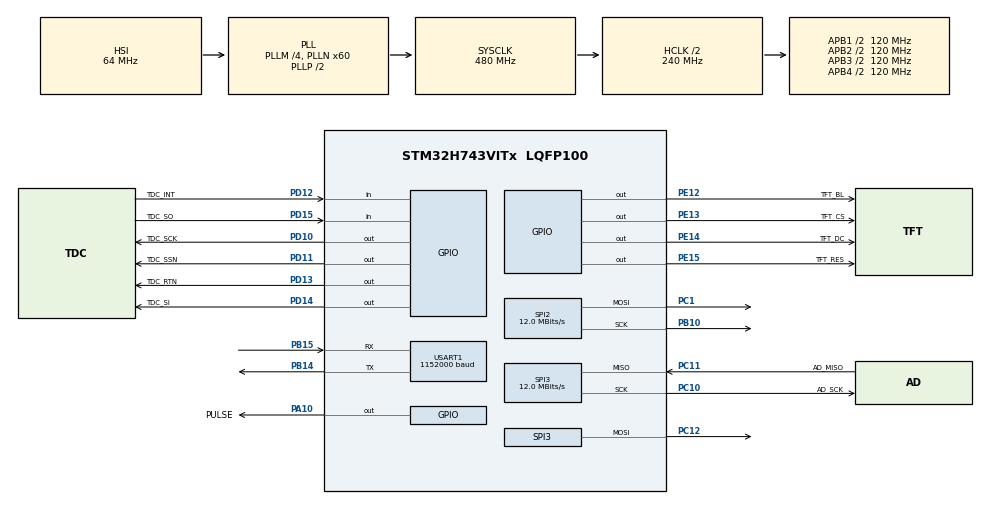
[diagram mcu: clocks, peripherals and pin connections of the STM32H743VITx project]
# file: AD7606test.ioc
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CORTEX_M7.default_mode_Activation=1
Dma.Request0=SPI3_RX
Dma.SPI3_RX.0.Direction=DMA_PERIPH_TO_MEMORY
Dma.SPI3_RX.0.EventEnable=DISABLE
Dma.SPI3_RX.0.FIFOMode=DMA_FIFOMODE_DISABLE
Dma.SPI3_RX.0.Instance=DMA1_Stream0
Dma.SPI3_RX.0.MemDataAlignment=DMA_MDATAALIGN_HALFWORD
Dma.SPI3_RX.0.MemInc=DMA_MINC_ENABLE
Dma.SPI3_RX.0.Mode=DMA_CIRCULAR
Dma.SPI3_RX.0.PeriphDataAlignment=DMA_PDATAALIGN_HALFWORD
Dma.SPI3_RX.0.PeriphInc=DMA_PINC_DISABLE
Dma.SPI3_RX.0.Polarity=HAL_DMAMUX_REQ_GEN_RISING
Dma.SPI3_RX.0.Priority=DMA_PRIORITY_LOW
Dma.SPI3_RX.0.RequestNumber=1
Dma.SPI3_RX.0.SignalID=NONE
Dma.SPI3_RX.0.SyncEnable=DISABLE
Dma.SPI3_RX.0.SyncPolarity=HAL_DMAMUX_SYNC_NO_EVENT
Dma.SPI3_RX.0.SyncRequestNumber=1
Dma.SPI3_RX.0.SyncSignalID=NONE
Mcu.Family=STM32H7
Mcu.Name=STM32H743VITx
Mcu.Package=LQFP100
NVIC.DMA1_Stream0_IRQn=true\:0\:0\:false\:false\:true\:false\:true\:true
NVIC.PriorityGroup=NVIC_PRIORITYGROUP_4
NVIC.SPI3_IRQn=true\:0\:0\:false\:false\:true\:false\:true\:true
NVIC.TIM4_IRQn=true\:0\:0\:false\:false\:true\:true\:true\:true
PA10.GPIO_Label=PULSE
PA10.Signal=GPIO_Output
PA13\ (JTMS/SWDIO).Mode=Serial_Wire
PA13\ (JTMS/SWDIO).Signal=DEBUG_JTMS-SWDIO
PA14\ (JTCK/SWCLK).Mode=Serial_Wire
PA14\ (JTCK/SWCLK).Signal=DEBUG_JTCK-SWCLK
PB10.Mode=TX_Only_Simplex_Unidirect_Master
PB10.Signal=SPI2_SCK
PB14.Mode=Asynchronous
PB14.Signal=USART1_TX
PB15.Mode=Asynchronous
PB15.Signal=USART1_RX
PC1.Mode=TX_Only_Simplex_Unidirect_Master
PC1.Signal=SPI2_MOSI
PC10.GPIO_Label=AD_SCK
PC10.Mode=Full_Duplex_Master
PC10.Signal=SPI3_SCK
PC11.GPIO_Label=AD_MISO
PC11.Mode=Full_Duplex_Master
PC11.Signal=SPI3_MISO
PC12.Mode=Full_Duplex_Master
PC12.Signal=SPI3_MOSI
PD10.GPIO_Label=TDC_SCK
PD10.Signal=GPIO_Output
PD11.GPIO_Label=TDC_SSN
PD11.Signal=GPIO_Output
PD12.GPIO_Label=TDC_INT
PD12.Signal=GPIO_Input
PD13.GPIO_Label=TDC_RTN
PD13.Signal=GPIO_Output
PD14.GPIO_Label=TDC_SI
PD14.Signal=GPIO_Output
PD15.GPIO_Label=TDC_SO
PD15.Signal=GPIO_Input
PE12.GPIO_Label=TFT_BL
PE12.Signal=GPIO_Output
PE13.GPIO_Label=TFT_CS
PE13.Signal=GPIO_Output
PE14.GPIO_Label=TFT_DC
PE14.Signal=GPIO_Output
PE15.GPIO_Label=TFT_RES
PE15.Signal=GPIO_Output
PH0-OSC_IN\ (PH0).Mode=HSE-External-Oscillator
PH0-OSC_IN\ (PH0).Signal=RCC_OSC_IN
PH1-OSC_OUT\ (PH1).Mode=HSE-External-Oscillator
PH1-OSC_OUT\ (PH1).Signal=RCC_OSC_OUT
ProjectManager.HeapSize=0x200
ProjectManager.StackSize=0x400
ProjectManager.TargetToolchain=STM32CubeIDE
RCC.ADCFreq_Value=129000000
RCC.APB1Freq_Value=120000000
RCC.APB2Freq_Value=120000000
RCC.APB3Freq_Value=120000000
RCC.APB4Freq_Value=120000000
RCC.CortexFreq_Value=480000000
RCC.D1PPRE=RCC_APB3_DIV2
RCC.D2PPRE1=RCC_APB1_DIV2
RCC.D2PPRE2=RCC_APB2_DIV2
RCC.D3PPRE=RCC_APB4_DIV2
RCC.DIVM1=4
RCC.DIVN1=60
RCC.DIVQ1=5
RCC.HCLKFreq_Value=240000000
RCC.HPRE=RCC_HCLK_DIV2
RCC.PLL2FRACN=0
RCC.PLL3FRACN=0
RCC.PLLFRACN=0
RCC.SYSCLKFreq_VALUE=480000000
RCC.SYSCLKSource=RCC_SYSCLKSOURCE_PLLCLK
RCC.USBFreq_Value=192000000
SPI2.BaudRatePrescaler=SPI_BAUDRATEPRESCALER_16
SPI2.CalculateBaudRate=12.0 MBits/s
SPI2.DataSize=SPI_DATASIZE_8BIT
SPI2.Direction=SPI_DIRECTION_2LINES_TXONLY
SPI2.Mode=SPI_MODE_MASTER
SPI2.VirtualType=VM_MASTER
SPI3.BaudRatePrescaler=SPI_BAUDRATEPRESCALER_16
SPI3.CLKPolarity=SPI_POLARITY_HIGH
SPI3.CalculateBaudRate=12.0 MBits/s
SPI3.DataSize=SPI_DATASIZE_16BIT
SPI3.Direction=SPI_DIRECTION_2LINES
SPI3.Mode=SPI_MODE_MASTER
SPI3.VirtualType=VM_MASTER
TIM4.Channel-Output\ Compare1\ No\ Output=TIM_CHANNEL_1
TIM4.TIM_MasterOutputTrigger=TIM_TRGO_UPDATE
USART1.BaudRate=1152000
USART1.ClockPrescaler=PRESCALER_DIV1
USART1.VirtualMode-Asynchronous=VM_ASYNC
VP_MEMORYMAP_VS_MEMORYMAP.Mode=CurAppReg
VP_TIM4_VS_no_output1.Mode=Output Compare1 No Output
board=custom

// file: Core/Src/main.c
/* USER CODE BEGIN Header */
/**
  ******************************************************************************
  * @file           : main.c
  * @brief          : Main program body
  ******************************************************************************
  * @attention
  *
  * Copyright (c) 2025 STMicroelectronics.
  * All rights reserved.
  *
  * This software is licensed under terms that can be found in the LICENSE file
  * in the root directory of this software component.
  * If no LICENSE file comes with this software, it is provided AS-IS.
  *
  ******************************************************************************
  */
/* USER CODE END Header */
#include "main.h"
#include "dma.h"
#include "memorymap.h"
#include "spi.h"
#include "tim.h"
#include "usart.h"
#include "gpio.h"

/* USER CODE BEGIN Includes */
#include <stdio.h>
#include <stdlib.h>
#include <string.h>

#include "TFTh/TFT_CAD.h"
#include "TFTh/TFT_io.h"
#include "TFTh/TFT_config.h"
#include "TFTh/TFT_text.h"
#include "TFTh/TFT_init.h"
#include "tdc.h"
/* USER CODE END Includes */

/* USER CODE BEGIN PTD */
TFT_HandleTypeDef htft1 ;
/* USER CODE END PTD */

/* USER CODE BEGIN PV */

uint16_t nums = 0;
int cnt = 0;
uint32_t* result;
// 显示字符串缓冲区
char str1[50];
char str2[50];
char str3[50];
char str4[50];
char str5[50];
char str6[50];
char str7[50];
char str8[50];
/* USER CODE END PV */

void SystemClock_Config(void);
static void MPU_Config(void);
/* USER CODE BEGIN PFP */
void TFT_Demo_Init()
{
  // 初始化第一个TFT屏幕
  TFT_Init_Instance(&htft1, &hspi2, TFT_CS_GPIO_Port, TFT_CS_Pin);

  TFT_Config_Pins(&htft1, TFT_DC_GPIO_Port, TFT_DC_Pin,
                  TFT_RES_GPIO_Port, TFT_RES_Pin,
                  TFT_BL_GPIO_Port, TFT_BL_Pin);
  TFT_Config_Display(&htft1, 3, 0, 30); // 设置方向、X/Y偏移
  TFT_IO_Init(&htft1); // 初始化IO层
  TFT_Init_ST7789v3(&htft1); // ST7735S屏幕初始化
  htft1.buffer_size = 1024; // 设置缓冲区大小
}

/* USER CODE END PFP */

int main(void)
{

  /* MPU Configuration--------------------------------------------------------*/
  MPU_Config();

  /* MCU Configuration--------------------------------------------------------*/

  /* Reset of all peripherals, Initializes the Flash interface and the Systick. */
  HAL_Init();

  /* Configure the system clock */
  SystemClock_Config();

  /* Initialize all configured peripherals */
  MX_GPIO_Init();
  MX_DMA_Init();
  MX_USART1_UART_Init();
  MX_SPI2_Init();
  MX_TIM4_Init();
  MX_SPI3_Init();
  /* USER CODE BEGIN 2 */
  // 初始化TFT显示
  TFT_Demo_Init();
  TFT_Fill_Area(&htft1, 0, 0, 320, 240, BLACK);
  int nums = 0;

  TDC_Init();
  /* USER CODE END 2 */

  /* Infinite loop */
  /* USER CODE BEGIN WHILE */
  while (1)
  {
    uint32_t* result = 0;
    HAL_Delay(1);
    //TDC_Measure(result,100) ;
    nums++;
    // 将TDC测量结果转换为纳秒

    //float time_ns = MYTDC_to_ns(*result);

    TFT_Show_String(&htft1,20,20,"Hello world",WHITE,BLACK,16,0);
    TDC_Measure(result,100);
    float time = TDC_to_ns(*result);
    sprintf(str1,"time-ns:%f",time);
    TFT_Show_String(&htft1,20,40,str1,WHITE,BLACK,16,0);
    sprintf(str2,"nums:%d",nums);
    TFT_Show_String(&htft1,20,60,str2,WHITE,BLACK,16,0);

    //sprintf(str3,"time_sss:%f",time_ns);
    //TFT_Show_String(&htft1,20,80,str3,WHITE,BLACK,16,0);

    /* USER CODE END WHILE */

  }
}

void SystemClock_Config(void)
{
  RCC_OscInitTypeDef RCC_OscInitStruct = {0};
  RCC_ClkInitTypeDef RCC_ClkInitStruct = {0};

  /** Supply configuration update enable
  */
  HAL_PWREx_ConfigSupply(PWR_LDO_SUPPLY);

  /** Configure the main internal regulator output voltage
  */
  __HAL_PWR_VOLTAGESCALING_CONFIG(PWR_REGULATOR_VOLTAGE_SCALE0);

  while(!__HAL_PWR_GET_FLAG(PWR_FLAG_VOSRDY)) {}

  /** Initializes the RCC Oscillators according to the specified parameters
  * in the RCC_OscInitTypeDef structure.
  */
  RCC_OscInitStruct.OscillatorType = RCC_OSCILLATORTYPE_HSI;
  RCC_OscInitStruct.HSIState = RCC_HSI_DIV1;
  RCC_OscInitStruct.HSICalibrationValue = RCC_HSICALIBRATION_DEFAULT;
  RCC_OscInitStruct.PLL.PLLState = RCC_PLL_ON;
  RCC_OscInitStruct.PLL.PLLSource = RCC_PLLSOURCE_HSI;
  RCC_OscInitStruct.PLL.PLLM = 4;
  RCC_OscInitStruct.PLL.PLLN = 60;
  RCC_OscInitStruct.PLL.PLLP = 2;
  RCC_OscInitStruct.PLL.PLLQ = 5;
  RCC_OscInitStruct.PLL.PLLR = 2;
  RCC_OscInitStruct.PLL.PLLRGE = RCC_PLL1VCIRANGE_3;
  RCC_OscInitStruct.PLL.PLLVCOSEL = RCC_PLL1VCOWIDE;
  RCC_OscInitStruct.PLL.PLLFRACN = 0;
  if (HAL_RCC_OscConfig(&RCC_OscInitStruct) != HAL_OK)
  {
    Error_Handler();
  }

  /** Initializes the CPU, AHB and APB buses clocks
  */
  RCC_ClkInitStruct.ClockType = RCC_CLOCKTYPE_HCLK|RCC_CLOCKTYPE_SYSCLK
                              |RCC_CLOCKTYPE_PCLK1|RCC_CLOCKTYPE_PCLK2
                              |RCC_CLOCKTYPE_D3PCLK1|RCC_CLOCKTYPE_D1PCLK1;
  RCC_ClkInitStruct.SYSCLKSource = RCC_SYSCLKSOURCE_PLLCLK;
  RCC_ClkInitStruct.SYSCLKDivider = RCC_SYSCLK_DIV1;
  RCC_ClkInitStruct.AHBCLKDivider = RCC_HCLK_DIV2;
  RCC_ClkInitStruct.APB3CLKDivider = RCC_APB3_DIV2;
  RCC_ClkInitStruct.APB1CLKDivider = RCC_APB1_DIV2;
  RCC_ClkInitStruct.APB2CLKDivider = RCC_APB2_DIV2;
  RCC_ClkInitStruct.APB4CLKDivider = RCC_APB4_DIV2;

  if (HAL_RCC_ClockConfig(&RCC_ClkInitStruct, FLASH_LATENCY_4) != HAL_OK)
  {
    Error_Handler();
  }
}

 /* MPU Configuration */

void MPU_Config(void)
{
  MPU_Region_InitTypeDef MPU_InitStruct = {0};

  /* Disables the MPU */
  HAL_MPU_Disable();

  /** Initializes and configures the Region and the memory to be protected
  */
  MPU_InitStruct.Enable = MPU_REGION_ENABLE;
  MPU_InitStruct.Number = MPU_REGION_NUMBER0;
  MPU_InitStruct.BaseAddress = 0x0;
  MPU_InitStruct.Size = MPU_REGION_SIZE_4GB;
  MPU_InitStruct.SubRegionDisable = 0x87;
  MPU_InitStruct.TypeExtField = MPU_TEX_LEVEL0;
  MPU_InitStruct.AccessPermission = MPU_REGION_NO_ACCESS;
  MPU_InitStruct.DisableExec = MPU_INSTRUCTION_ACCESS_DISABLE;
  MPU_InitStruct.IsShareable = MPU_ACCESS_SHAREABLE;
  MPU_InitStruct.IsCacheable = MPU_ACCESS_NOT_CACHEABLE;
  MPU_InitStruct.IsBufferable = MPU_ACCESS_NOT_BUFFERABLE;

  HAL_MPU_ConfigRegion(&MPU_InitStruct);
  /* Enables the MPU */
  HAL_MPU_Enable(MPU_PRIVILEGED_DEFAULT);

}

void Error_Handler(void)
{
  __disable_irq();
  while (1)
  {
  }
}
